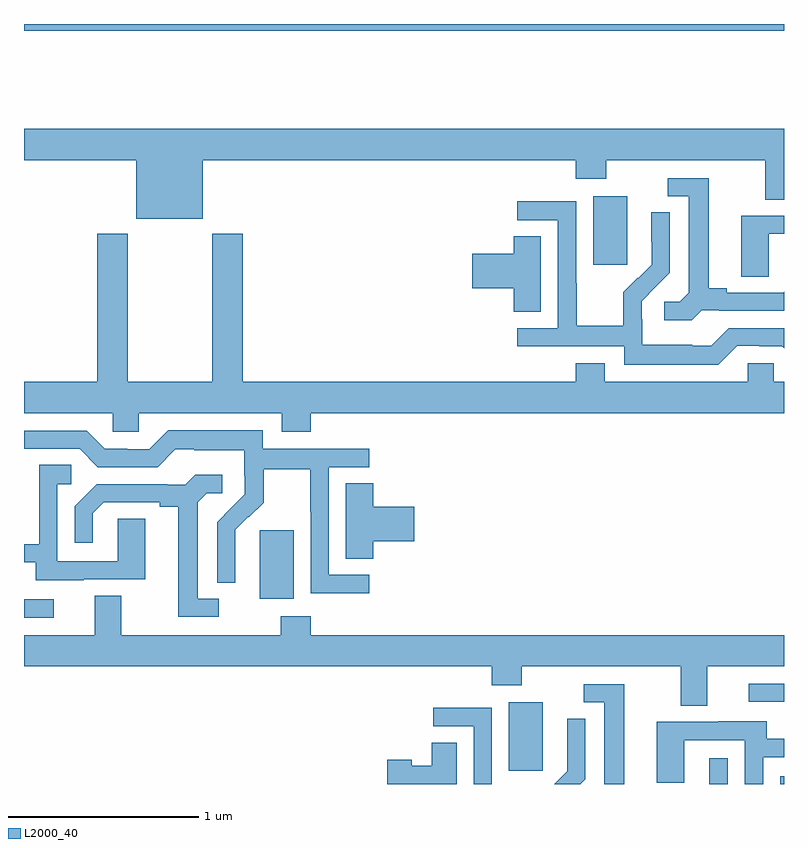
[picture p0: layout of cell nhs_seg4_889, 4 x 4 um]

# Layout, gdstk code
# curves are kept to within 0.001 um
import gdstk
lib = gdstk.Library(unit=1e-6, precision=1e-09)
def R(c, l, rs):  # rectangles x0, y0, x1, y1
    for r in rs: c.add(gdstk.rectangle(r[:2], r[2:], *l))
def P(c, l, *ps):  # polygons
    for p in ps: c.add(gdstk.Polygon(p, *l))
L2000_40 = (2000, 40)

nhs_seg4_889 = lib.new_cell('nhs_seg4_889')
R(nhs_seg4_889, L2000_40, [(160.607,762.9,160.704,763.036), (160.98,762.9,161,762.942), (159.551,762.969,159.73,763.33), (160.815,763.332,161,763.428), (157,763.776,157.156,763.872), (158.24,763.874,158.419,764.235), (159.995,765.633,160.174,765.994), (157,766.864,161,766.9)])
P(nhs_seg4_889, L2000_40, [(157.942,766.184),(159.905,766.184),(159.905,766.085),(160.065,766.085),(160.065,766.184),(160.901,766.184),(160.901,765.976),(161,765.976),(161,766.348),(157,766.348),(157,766.184),(157.592,766.184),(157.592,765.875),(157.942,765.875)],
  [(160.566,765.393),(160.66,765.393),(160.66,765.39),(161,765.39),(161,765.492),(160.994,765.486),(160.699,765.486),(160.699,765.509),(160.603,765.509),(160.603,766.089),(160.389,766.089),(160.389,765.993),(160.499,765.993),(160.499,765.485),(160.452,765.438),(160.371,765.438),(160.371,765.341),(160.514,765.341)],
  [(160.755,765.207),(160.871,765.207),(160.871,765.204),(160.989,765.204),(161,765.193),(161,765.3),(160.71,765.3),(160.617,765.207),(160.517,765.207),(160.517,765.211),(160.254,765.211),(160.254,765.345),(160.252,765.345),(160.252,765.442),(160.398,765.59),(160.398,765.908),(160.302,765.908),(160.302,765.754),(160.304,765.754),(160.304,765.632),(160.233,765.561),(160.23,765.564),(160.153,765.487),(160.153,765.313),(159.909,765.313),(159.909,765.536),(159.906,765.536),(159.906,765.966),(159.597,765.966),(159.597,765.867),(159.81,765.867),(159.81,765.3),(159.597,765.3),(159.597,765.204),(160.158,765.204),(160.158,765.107),(160.655,765.107)],
  [(160.92,765.795),(161,765.795),(161,765.891),(160.775,765.891),(160.775,765.571),(160.92,765.571)],
  [(158.51,764.852),(161,764.852),(161,765.016),(160.947,765.016),(160.947,765.114),(160.809,765.114),(160.809,765.016),(160.057,765.016),(160.057,765.115),(159.905,765.115),(159.905,765.016),(158.15,765.016),(158.15,765.796),(157.99,765.796),(157.99,765.016),(157.545,765.016),(157.545,765.796),(157.385,765.796),(157.385,765.016),(157,765.016),(157,764.852),(157.467,764.852),(157.467,764.754),(157.605,764.754),(157.605,764.852),(158.357,764.852),(158.357,764.753),(158.51,764.753)],
  [(159.721,765.782),(159.578,765.782),(159.578,765.692),(159.36,765.692),(159.36,765.509),(159.578,765.509),(159.578,765.385),(159.721,765.385)],
  [(158.818,764.001),(158.604,764.001),(158.604,764.568),(158.818,764.568),(158.818,764.664),(158.256,764.664),(158.256,764.761),(157.759,764.761),(157.659,764.661),(157.544,764.661),(157.544,764.664),(157.425,764.664),(157.329,764.76),(157,764.76),(157,764.664),(157.293,764.664),(157.389,764.568),(157.704,764.568),(157.797,764.661),(157.897,764.661),(157.897,764.657),(158.16,764.657),(158.16,764.523),(158.162,764.523),(158.162,764.426),(158.016,764.278),(158.016,763.96),(158.112,763.96),(158.111,764.237),(158.181,764.307),(158.184,764.304),(158.261,764.381),(158.261,764.556),(158.506,764.556),(158.506,764.332),(158.508,764.332),(158.508,763.903),(158.818,763.903)],
  [(157.315,763.977),(157.639,763.977),(157.639,764.297),(157.494,764.297),(157.494,764.073),(157.176,764.073),(157.176,764.478),(157.249,764.478),(157.249,764.579),(157.08,764.579),(157.08,764.163),(157,764.163),(157,764.067),(157.061,764.067),(157.061,763.973),(157.315,763.973)],
  [(158.026,763.875),(157.915,763.875),(157.915,764.383),(157.962,764.43),(158.044,764.43),(158.044,764.527),(157.9,764.527),(157.848,764.475),(157.754,764.475),(157.754,764.478),(157.382,764.478),(157.266,764.362),(157.266,764.169),(157.363,764.169),(157.363,764.325),(157.42,764.382),(157.715,764.382),(157.715,764.36),(157.811,764.36),(157.811,763.779),(158.026,763.779)],
  [(158.837,764.177),(159.055,764.177),(159.055,764.36),(158.837,764.36),(158.837,764.483),(158.693,764.483),(158.693,764.086),(158.837,764.086)],
  [(160.597,763.52),(161,763.52),(161,763.684),(158.51,763.684),(158.51,763.783),(158.35,763.783),(158.35,763.684),(157.513,763.684),(157.513,763.892),(157.373,763.892),(157.373,763.684),(157,763.684),(157,763.52),(159.461,763.52),(159.461,763.421),(159.621,763.421),(159.621,763.52),(160.457,763.52),(160.457,763.312),(160.597,763.312)],
  [(160.159,763.425),(159.945,763.425),(159.945,763.329),(160.055,763.329),(160.055,762.9),(160.159,762.9)],
  [(159.462,763.302),(159.153,763.302),(159.153,763.203),(159.366,763.203),(159.366,762.9),(159.462,762.9)],
  [(159.954,762.926),(159.954,763.244),(159.858,763.244),(159.858,763.09),(159.86,763.09),(159.86,762.968),(159.792,762.9),(159.928,762.9)],
  [(160.89,763.041),(161,763.041),(161,763.137),(160.909,763.137),(160.909,763.231),(160.655,763.231),(160.655,763.227),(160.331,763.227),(160.331,762.907),(160.476,762.907),(160.476,763.131),(160.794,763.131),(160.794,762.9),(160.89,762.9)],
  [(159.277,763.118),(159.146,763.118),(159.146,762.997),(159.042,762.997),(159.042,763.028),(158.912,763.028),(158.912,762.9),(159.277,762.9)])

lib.write_gds('nhs_seg4_889.gds')
